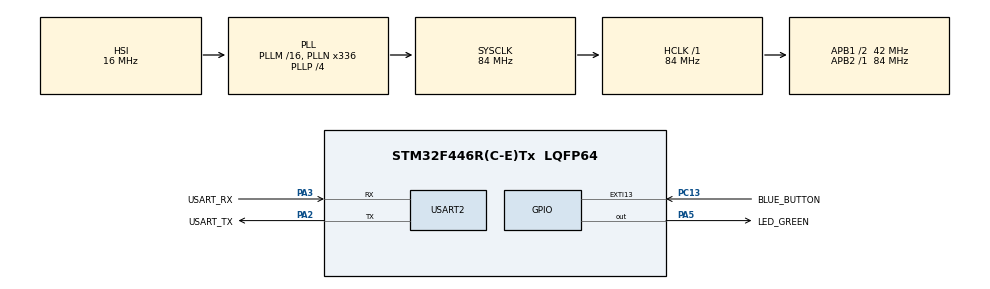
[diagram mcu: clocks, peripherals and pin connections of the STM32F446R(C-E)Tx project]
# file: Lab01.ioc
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FREERTOS.Tasks01=Task01,24,128,StartTask01,Default,NULL,Dynamic,NULL,NULL;Task02,24,128,StartTask02,Default,NULL,Dynamic,NULL,NULL;Task03,8,128,StartTask03,Default,NULL,Dynamic,NULL,NULL
FREERTOS.configUSE_NEWLIB_REENTRANT=1
FREERTOS.configUSE_PREEMPTION=0
Mcu.Family=STM32F4
Mcu.Name=STM32F446R(C-E)Tx
Mcu.Package=LQFP64
NVIC.EXTI15_10_IRQn=true\:5\:0\:false\:false\:true\:true\:true\:true\:true
NVIC.PriorityGroup=NVIC_PRIORITYGROUP_4
NVIC.TIM5_IRQn=true\:15\:0\:false\:false\:true\:false\:false\:true\:true
NVIC.TimeBase=TIM5_IRQn
NVIC.TimeBaseIP=TIM5
PA13.GPIO_Label=TMS
PA13.Mode=Trace_Asynchronous_SW
PA13.Signal=SYS_JTMS-SWDIO
PA14.GPIO_Label=TCK
PA14.Mode=Trace_Asynchronous_SW
PA14.Signal=SYS_JTCK-SWCLK
PA2.GPIO_Label=USART_TX
PA2.Mode=Asynchronous
PA2.Signal=USART2_TX
PA3.GPIO_Label=USART_RX
PA3.Mode=Asynchronous
PA3.Signal=USART2_RX
PA5.GPIO_Label=LED_GREEN
PA5.Signal=GPIO_Output
PB3.GPIO_Label=SWO
PB3.Mode=Trace_Asynchronous_SW
PB3.Signal=SYS_JTDO-SWO
PC13.GPIO_Label=BLUE_BUTTON
PC13.GPIO_ModeDefaultEXTI=GPIO_MODE_IT_FALLING
PC13.Signal=GPXTI13
PC14-OSC32_IN.Mode=LSE-External-Oscillator
PC14-OSC32_IN.Signal=RCC_OSC32_IN
PC15-OSC32_OUT.Mode=LSE-External-Oscillator
PC15-OSC32_OUT.Signal=RCC_OSC32_OUT
PH0-OSC_IN.Mode=HSE-External-Oscillator
PH0-OSC_IN.Signal=RCC_OSC_IN
PH1-OSC_OUT.Mode=HSE-External-Oscillator
PH1-OSC_OUT.Signal=RCC_OSC_OUT
ProjectManager.HeapSize=0x200
ProjectManager.StackSize=0x400
ProjectManager.TargetToolchain=STM32CubeIDE
RCC.48MHZClocksFreq_Value=84000000
RCC.AHBFreq_Value=84000000
RCC.APB1CLKDivider=RCC_HCLK_DIV2
RCC.APB1Freq_Value=42000000
RCC.APB1TimFreq_Value=84000000
RCC.APB2Freq_Value=84000000
RCC.APB2TimFreq_Value=84000000
RCC.CortexFreq_Value=84000000
RCC.FLatency-AdvancedSettings=FLASH_LATENCY_2
RCC.HCLKFreq_Value=84000000
RCC.HSE_VALUE=8000000
RCC.HSI_VALUE=16000000
RCC.PLLN=336
RCC.PLLP=RCC_PLLP_DIV4
RCC.SYSCLKFreq_VALUE=84000000
RCC.SYSCLKSource=RCC_SYSCLKSOURCE_PLLCLK
RCC.USBFreq_Value=168000000
RCC.VCOOutputFreq_Value=336000000
USART2.VirtualMode=VM_ASYNC
VP_FREERTOS_VS_CMSIS_V2.Mode=CMSIS_V2
VP_SYS_VS_tim5.Mode=TIM5
board=NUCLEO-F446RE

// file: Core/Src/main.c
/* USER CODE BEGIN Header */
/**
  ******************************************************************************
  * @file           : main.c
  * @brief          : Main program body
  ******************************************************************************
  * @attention
  *
  * Copyright (c) 2025 STMicroelectronics.
  * All rights reserved.
  *
  * This software is licensed under terms that can be found in the LICENSE file
  * in the root directory of this software component.
  * If no LICENSE file comes with this software, it is provided AS-IS.
  *
  ******************************************************************************
  */
/* USER CODE END Header */
#include "main.h"
#include "cmsis_os.h"

/* USER CODE BEGIN Includes */
#include <stdio.h>
/* USER CODE END Includes */

/* USER CODE BEGIN PD */
osThreadState_t Task01State;
osThreadState_t Task02State;
osThreadState_t Task03State;
/* USER CODE END PD */

UART_HandleTypeDef huart2;

/* Definitions for Task01 */
osThreadId_t Task01Handle;
const osThreadAttr_t Task01_attributes = {
  .name = "Task01",
  .stack_size = 128 * 4,
  .priority = (osPriority_t) osPriorityNormal,
};
/* Definitions for Task02 */
osThreadId_t Task02Handle;
const osThreadAttr_t Task02_attributes = {
  .name = "Task02",
  .stack_size = 128 * 4,
  .priority = (osPriority_t) osPriorityNormal,
};
/* Definitions for Task03 */
osThreadId_t Task03Handle;
const osThreadAttr_t Task03_attributes = {
  .name = "Task03",
  .stack_size = 128 * 4,
  .priority = (osPriority_t) osPriorityLow,
};
/* USER CODE BEGIN PV */
osEventFlagsId_t myEventFlags;
/* USER CODE END PV */

void SystemClock_Config(void);
static void MX_GPIO_Init(void);
static void MX_USART2_UART_Init(void);
void StartTask01(void *argument);
void StartTask02(void *argument);
void StartTask03(void *argument);

/* USER CODE BEGIN 0 */
int __io_putchar(int chr)
{
	ITM_SendChar(chr);
	return 1;
}
/* USER CODE END 0 */

int main(void)
{

  /* MCU Configuration--------------------------------------------------------*/

  /* Reset of all peripherals, Initializes the Flash interface and the Systick. */
  HAL_Init();

  /* Configure the system clock */
  SystemClock_Config();

  /* Initialize all configured peripherals */
  MX_GPIO_Init();
  MX_USART2_UART_Init();
  /* USER CODE BEGIN 2 */
  printf("osKernelInitialize()\n");
  /* USER CODE END 2 */

  /* Init scheduler */
  osKernelInitialize();

  /* Create the thread(s) */
  /* creation of Task01 */
  Task01Handle = osThreadNew(StartTask01, NULL, &Task01_attributes);

  /* creation of Task02 */
  Task02Handle = osThreadNew(StartTask02, NULL, &Task02_attributes);

  /* creation of Task03 */
  Task03Handle = osThreadNew(StartTask03, NULL, &Task03_attributes);

  /* USER CODE BEGIN RTOS_THREADS */
  /* add threads, ... */
  myEventFlags = osEventFlagsNew(NULL);
  /* USER CODE END RTOS_THREADS */

  /* Start scheduler */
  osKernelStart();

  /* We should never get here as control is now taken by the scheduler */

  /* Infinite loop */
  while (1)
  {

  }
}

void SystemClock_Config(void)
{
  RCC_OscInitTypeDef RCC_OscInitStruct = {0};
  RCC_ClkInitTypeDef RCC_ClkInitStruct = {0};

  /** Configure the main internal regulator output voltage
  */
  __HAL_RCC_PWR_CLK_ENABLE();
  __HAL_PWR_VOLTAGESCALING_CONFIG(PWR_REGULATOR_VOLTAGE_SCALE3);

  /** Initializes the RCC Oscillators according to the specified parameters
  * in the RCC_OscInitTypeDef structure.
  */
  RCC_OscInitStruct.OscillatorType = RCC_OSCILLATORTYPE_HSI;
  RCC_OscInitStruct.HSIState = RCC_HSI_ON;
  RCC_OscInitStruct.HSICalibrationValue = RCC_HSICALIBRATION_DEFAULT;
  RCC_OscInitStruct.PLL.PLLState = RCC_PLL_ON;
  RCC_OscInitStruct.PLL.PLLSource = RCC_PLLSOURCE_HSI;
  RCC_OscInitStruct.PLL.PLLM = 16;
  RCC_OscInitStruct.PLL.PLLN = 336;
  RCC_OscInitStruct.PLL.PLLP = RCC_PLLP_DIV4;
  RCC_OscInitStruct.PLL.PLLQ = 2;
  RCC_OscInitStruct.PLL.PLLR = 2;
  if (HAL_RCC_OscConfig(&RCC_OscInitStruct) != HAL_OK)
  {
    Error_Handler();
  }

  /** Initializes the CPU, AHB and APB buses clocks
  */
  RCC_ClkInitStruct.ClockType = RCC_CLOCKTYPE_HCLK|RCC_CLOCKTYPE_SYSCLK
                              |RCC_CLOCKTYPE_PCLK1|RCC_CLOCKTYPE_PCLK2;
  RCC_ClkInitStruct.SYSCLKSource = RCC_SYSCLKSOURCE_PLLCLK;
  RCC_ClkInitStruct.AHBCLKDivider = RCC_SYSCLK_DIV1;
  RCC_ClkInitStruct.APB1CLKDivider = RCC_HCLK_DIV2;
  RCC_ClkInitStruct.APB2CLKDivider = RCC_HCLK_DIV1;

  if (HAL_RCC_ClockConfig(&RCC_ClkInitStruct, FLASH_LATENCY_2) != HAL_OK)
  {
    Error_Handler();
  }
}

static void MX_USART2_UART_Init(void)
{

  huart2.Instance = USART2;
  huart2.Init.BaudRate = 115200;
  huart2.Init.WordLength = UART_WORDLENGTH_8B;
  huart2.Init.StopBits = UART_STOPBITS_1;
  huart2.Init.Parity = UART_PARITY_NONE;
  huart2.Init.Mode = UART_MODE_TX_RX;
  huart2.Init.HwFlowCtl = UART_HWCONTROL_NONE;
  huart2.Init.OverSampling = UART_OVERSAMPLING_16;
  if (HAL_UART_Init(&huart2) != HAL_OK)
  {
    Error_Handler();
  }

}

static void MX_GPIO_Init(void)
{
  GPIO_InitTypeDef GPIO_InitStruct = {0};

  /* GPIO Ports Clock Enable */
  __HAL_RCC_GPIOC_CLK_ENABLE();
  __HAL_RCC_GPIOH_CLK_ENABLE();
  __HAL_RCC_GPIOA_CLK_ENABLE();
  __HAL_RCC_GPIOB_CLK_ENABLE();

  /*Configure GPIO pin Output Level */
  HAL_GPIO_WritePin(LED_GREEN_GPIO_Port, LED_GREEN_Pin, GPIO_PIN_RESET);

  /*Configure GPIO pin : BLUE_BUTTON_Pin */
  GPIO_InitStruct.Pin = BLUE_BUTTON_Pin;
  GPIO_InitStruct.Mode = GPIO_MODE_IT_FALLING;
  GPIO_InitStruct.Pull = GPIO_NOPULL;
  HAL_GPIO_Init(BLUE_BUTTON_GPIO_Port, &GPIO_InitStruct);

  /*Configure GPIO pin : LED_GREEN_Pin */
  GPIO_InitStruct.Pin = LED_GREEN_Pin;
  GPIO_InitStruct.Mode = GPIO_MODE_OUTPUT_PP;
  GPIO_InitStruct.Pull = GPIO_NOPULL;
  GPIO_InitStruct.Speed = GPIO_SPEED_FREQ_LOW;
  HAL_GPIO_Init(LED_GREEN_GPIO_Port, &GPIO_InitStruct);

  /* EXTI interrupt init*/
  HAL_NVIC_SetPriority(EXTI15_10_IRQn, 5, 0);
  HAL_NVIC_EnableIRQ(EXTI15_10_IRQn);

}

/* USER CODE BEGIN 4 */
void reportStatus()
{
	Task01State = osThreadGetState(Task01Handle);
	Task02State = osThreadGetState(Task02Handle);
	Task03State = osThreadGetState(Task03Handle);
	printf("Tasks states: 01->%d, 02->%d, 03->%d\n", Task01State, Task02State, Task03State);

}
/* USER CODE END 4 */

void StartTask01(void *argument)
{
  /* USER CODE BEGIN 5 */
  /* Infinite loop */
	for(;;)
	{
		reportStatus();
		osEventFlagsWait(myEventFlags, 0x1, osFlagsWaitAll, osWaitForever);
		for(int i = 0; i<10; i++)
		{
			HAL_GPIO_TogglePin(LED_GREEN_GPIO_Port, LED_GREEN_Pin);
			HAL_Delay(50);
		}
		osDelay(2000);
	}
  /* USER CODE END 5 */
}

void StartTask02(void *argument)
{
  /* USER CODE BEGIN StartTask02 */
  /* Infinite loop */
  for(;;)
	{
	  reportStatus();
	  for(int i = 0; i<5; i++)
		{
			HAL_GPIO_TogglePin(LED_GREEN_GPIO_Port, LED_GREEN_Pin);
			HAL_Delay(50);
		}
		osDelay(300);
	}
  /* USER CODE END StartTask02 */
}

void StartTask03(void *argument)
{
  /* USER CODE BEGIN StartTask03 */
  osThreadSetPriority(osThreadGetId(), osPriorityNormal);
  /* Infinite loop */
  for(;;)
  {
	  reportStatus();
	  for(int i = 0; i < 5; i++)
	  {
		  HAL_GPIO_WritePin(LED_GREEN_GPIO_Port, LED_GREEN_Pin, 0);
		  HAL_Delay(250);
	  }
      osDelay(300);
  }
  /* USER CODE END StartTask03 */
}

void HAL_TIM_PeriodElapsedCallback(TIM_HandleTypeDef *htim)
{
  if (htim->Instance == TIM5)
  {
    HAL_IncTick();
  }
}

void Error_Handler(void)
{
  __disable_irq();
  while (1)
  {
  }
}
